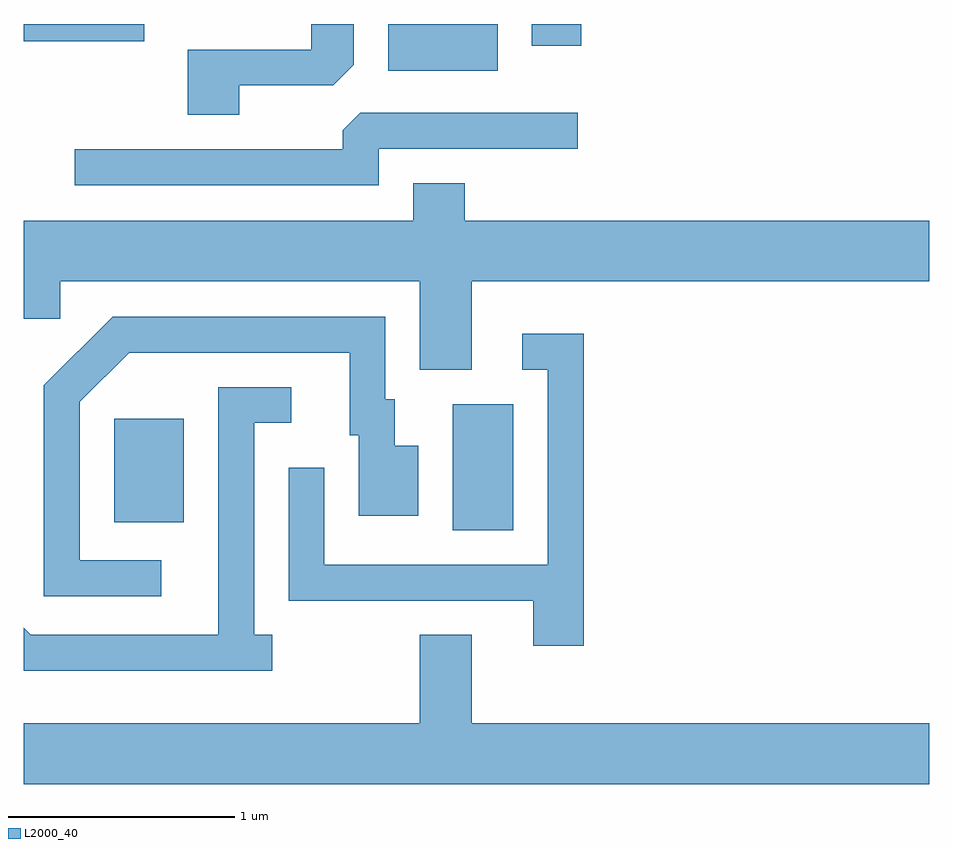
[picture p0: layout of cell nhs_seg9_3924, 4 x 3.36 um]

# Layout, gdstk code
import gdstk
lib = gdstk.Library(unit=1e-6, precision=1e-09)
def R(c, l, rs):  # rectangles x0, y0, x1, y1
    for r in rs: c.add(gdstk.rectangle(r[:2], r[2:], *l))
def P(c, l, *ps):  # polygons
    for p in ps: c.add(gdstk.Polygon(p, *l))
L2000_40 = (2000, 40)

nhs_seg9_3924 = lib.new_cell('nhs_seg9_3924')
R(nhs_seg9_3924, L2000_40, [(301.506,2066.196,301.774,2066.754), (300.011,2066.231,300.319,2066.689), (301.221,2068.226,301.704,2068.432), (301.856,2068.336,302.074,2068.432), (299.611,2068.356,300.144,2068.432)])
P(nhs_seg9_3924, L2000_40, [(300.564,2068.161),(300.979,2068.161),(301.069,2068.251),(301.069,2068.432),(300.881,2068.432),(300.881,2068.319),(300.336,2068.319),(300.336,2068.031),(300.564,2068.031)],
  [(301.179,2067.881),(302.058,2067.881),(302.058,2068.039),(301.097,2068.039),(301.021,2067.963),(301.021,2067.879),(299.838,2067.879),(299.838,2067.721),(301.179,2067.721)],
  [(301.589,2067.296),(303.611,2067.296),(303.611,2067.564),(301.559,2067.564),(301.559,2067.729),(301.331,2067.729),(301.331,2067.564),(299.611,2067.564),(299.611,2067.131),(299.774,2067.131),(299.774,2067.296),(301.361,2067.296),(301.361,2066.906),(301.589,2066.906)],
  [(300.218,2066.064),(299.859,2066.064),(299.859,2066.764),(300.077,2066.981),(301.051,2066.981),(301.051,2066.616),(301.091,2066.616),(301.091,2066.261),(301.354,2066.261),(301.354,2066.569),(301.249,2066.569),(301.249,2066.774),(301.209,2066.774),(301.209,2067.139),(300.004,2067.139),(299.701,2066.837),(299.701,2065.906),(300.218,2065.906)],
  [(302.084,2067.064),(301.813,2067.064),(301.813,2066.906),(301.926,2066.906),(301.926,2066.044),(300.939,2066.044),(300.939,2066.472),(300.781,2066.472),(300.781,2065.886),(301.861,2065.886),(301.861,2065.686),(302.084,2065.686)],
  [(300.708,2065.734),(300.629,2065.734),(300.629,2066.671),(300.793,2066.671),(300.793,2066.829),(300.471,2066.829),(300.471,2065.734),(299.642,2065.734),(299.611,2065.765),(299.611,2065.576),(300.708,2065.576)],
  [(303.611,2065.344),(301.589,2065.344),(301.589,2065.734),(301.361,2065.734),(301.361,2065.344),(299.611,2065.344),(299.611,2065.076),(303.611,2065.076)])

lib.write_gds('nhs_seg9_3924.gds')
